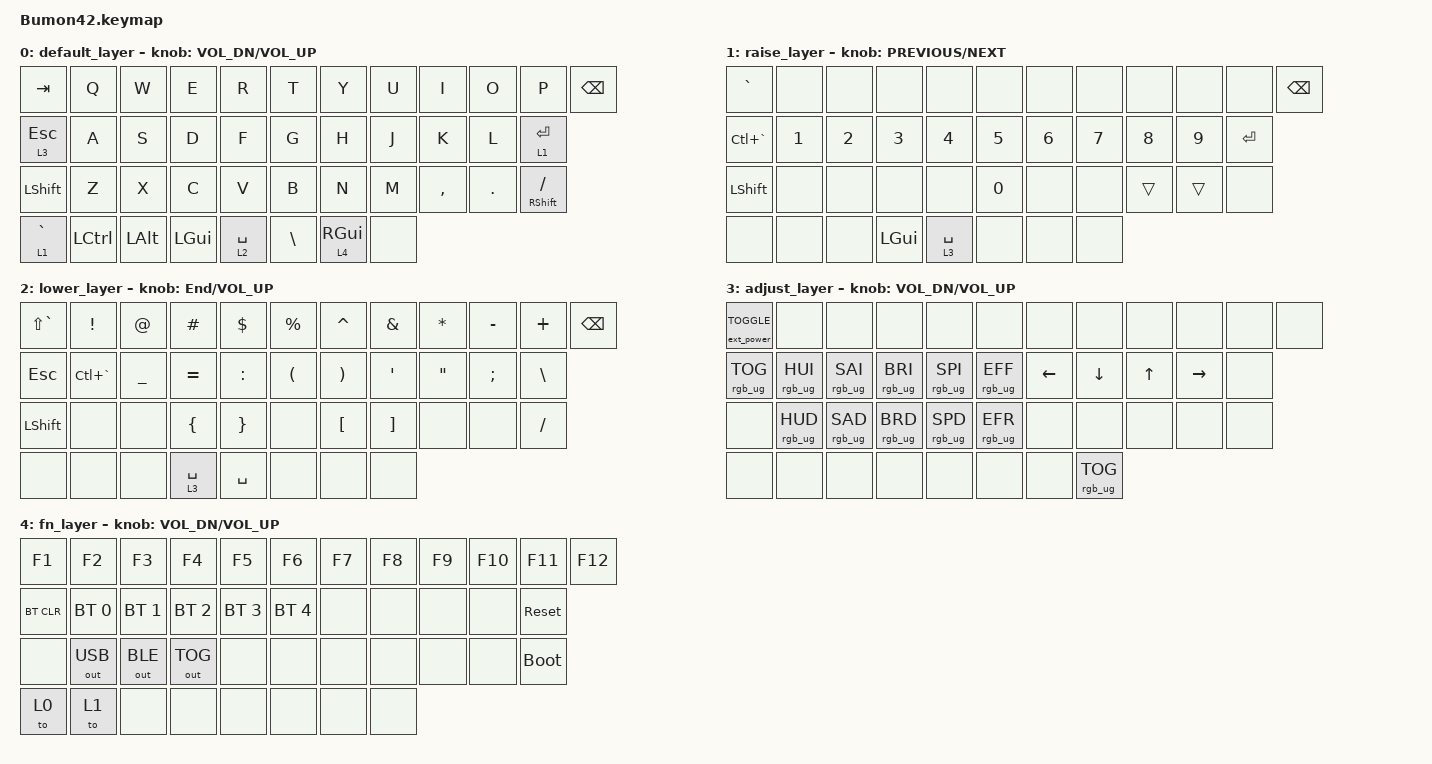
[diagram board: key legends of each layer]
#include <behaviors.dtsi>
#include <dt-bindings/zmk/bt.h>
#include <dt-bindings/zmk/ext_power.h>
#include <dt-bindings/zmk/keys.h>
#include <dt-bindings/zmk/keys.h>
#include <dt-bindings/zmk/outputs.h>
#include <dt-bindings/zmk/rgb.h>

#define AS(keycode) &as LS(keycode) keycode     // Autoshift Macro

// test
// changed lwr and rse

#define DEF 0
#define RSE 2
#define LWR 3
#define ADJ 4
#define FN  5

/ {
    behaviors {
        as: auto_shift {
            compatible = "zmk,behavior-hold-tap";
            label = "AUTO_SHIFT";
            #binding-cells = <2>;
            tapping_term_ms = <135>;
            quick_tap_ms = <0>;
            flavor = "tap-preferred";
            bindings =
                <&kp>,
                <&kp>;
        };
    };

    combos {
        compatible = "zmk,combos";

        new_combo_pagup {
            bindings = <&kp PAGE_UP>;
            key-positions = <12 7>;
            timeout-ms = <50>;
            layers = <0>;
        };

        new_combo_pagdown {
            bindings = <&kp PAGE_DOWN>;
            key-positions = <12 10>;
            timeout-ms = <50>;
            layers = <0>;
        };

        new_combo_home {
            bindings = <&kp HOME>;
            key-positions = <12 8>;
            timeout-ms = <50>;
            layers = <0>;
        };

        new_combo_end {
            bindings = <&kp END>;
            key-positions = <12 9>;
            timeout-ms = <50>;
            layers = <0>;
        };
    };

    keymap {
        compatible = "zmk,keymap";

        default_layer {
            bindings = <
    &kp TAB      &kp Q     &kp W         &kp E        &kp R     &kp T       &kp Y  &kp U      &kp I    &kp O                 &kp P  &kp BSPC
  &lt 3 ESC      &kp A     &kp S         &kp D        &kp F     &kp G       &kp H  &kp J      &kp K    &kp L           &lt 1 ENTER
  &kp LSHFT      &kp Z     &kp X         &kp C        &kp V     &kp B       &kp N  &kp M  &kp COMMA  &kp DOT  &mt RIGHT_SHIFT FSLH
&lt 1 GRAVE  &kp LCTRL  &kp LALT  &kp LEFT_GUI  &lt 2 SPACE  &kp BSLH  &lt 4 RGUI  &none
            >;

            sensor-bindings = <&inc_dec_kp C_VOL_DN C_VOL_UP>;
        };

        raise_layer {
            bindings = <
    &kp GRAVE   &none   &none         &none        &none   &none   &none   &none   &none   &none      &none  &kp BSPC
&kp LC(GRAVE)  &kp N1  &kp N2        &kp N3       &kp N4  &kp N5  &kp N6  &kp N7  &kp N8  &kp N9  &kp ENTER
    &kp LSHFT   &none   &none         &none        &none  &kp N0   &none   &none  &trans  &trans      &none
        &none   &none   &none  &kp LEFT_GUI  &lt 3 SPACE   &none   &none   &none
            >;

            sensor-bindings = <&inc_dec_kp C_PREVIOUS C_NEXT>;
        };

        lower_layer {
            bindings = <
&kp LS(GRAVE)  &kp EXCLAMATION  &kp AT_SIGN        &kp HASH       &kp DOLLAR           &kp PERCENT              &kp CARET      &kp AMPERSAND       &kp ASTERISK      &kp MINUS  &kp PLUS  &kp BACKSPACE
      &kp ESC    &kp LC(GRAVE)    &kp UNDER       &kp EQUAL        &kp COLON  &kp LEFT_PARENTHESIS  &kp RIGHT_PARENTHESIS   &kp SINGLE_QUOTE  &kp DOUBLE_QUOTES  &kp SEMICOLON  &kp BSLH
    &kp LSHFT            &none        &none  &kp LEFT_BRACE  &kp RIGHT_BRACE                 &none       &kp LEFT_BRACKET  &kp RIGHT_BRACKET              &none          &none  &kp FSLH
        &none            &none        &none     &lt 3 SPACE        &kp SPACE                 &none                  &none              &none
            >;

            sensor-bindings = <&inc_dec_kp END C_VOL_UP>;
        };

        adjust_layer {
            bindings = <
&ext_power EXT_POWER_TOGGLE_CMD            &none            &none            &none            &none            &none     &none            &none     &none      &none  &none  &none
                &rgb_ug RGB_TOG  &rgb_ug RGB_HUI  &rgb_ug RGB_SAI  &rgb_ug RGB_BRI  &rgb_ug RGB_SPI  &rgb_ug RGB_EFF  &kp LEFT           &kp DOWN  &kp UP  &kp RIGHT  &none
                          &none  &rgb_ug RGB_HUD  &rgb_ug RGB_SAD  &rgb_ug RGB_BRD  &rgb_ug RGB_SPD  &rgb_ug RGB_EFR     &none            &none     &none      &none  &none
                          &none            &none            &none            &none            &none            &none     &none  &rgb_ug RGB_TOG
            >;

            sensor-bindings = <&inc_dec_kp C_VOL_DN C_VOL_UP>;
        };

        fn_layer {
            bindings = <
    &kp F1        &kp F2        &kp F3        &kp F4        &kp F5        &kp F6  &kp F7  &kp F8  &kp F9  &kp F10      &kp F11  &kp F12
&bt BT_CLR  &bt BT_SEL 0  &bt BT_SEL 1  &bt BT_SEL 2  &bt BT_SEL 3  &bt BT_SEL 4   &none   &none   &none    &none   &sys_reset
     &none  &out OUT_USB  &out OUT_BLE  &out OUT_TOG         &none         &none   &none   &none   &none    &none  &bootloader
     &to 0         &to 1         &none         &none         &none         &none   &none   &none
            >;

            sensor-bindings = <&inc_dec_kp C_VOL_DN C_VOL_UP>;
        };
    };
};
